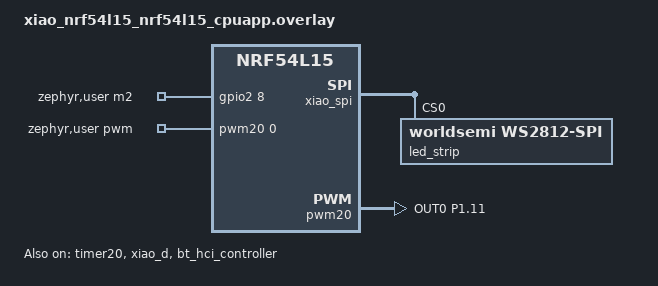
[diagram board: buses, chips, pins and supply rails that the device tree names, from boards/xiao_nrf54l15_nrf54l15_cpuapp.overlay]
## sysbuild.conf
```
# Sysbuild configuration for LED strip sample with HPF WS2812 support
# Based on HPF GPIO sample configuration

# Disable partition manager for simplicity
#SB_CONFIG_PARTITION_MANAGER=n

# Enable HPF framework
#SB_CONFIG_HPF=y

# Enable WS2812 HPF application for FLPR core
#SB_CONFIG_HPF_WS2812=y
```

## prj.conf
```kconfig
CONFIG_LOG=y
CONFIG_SHELL_BACKEND_SERIAL=y
CONFIG_LED_STRIP=y
CONFIG_LED_STRIP_LOG_LEVEL_DBG=y

# Counter/Timer support for POV frame timing
CONFIG_COUNTER=y

# PWM support for motor control
CONFIG_PWM=y
CONFIG_GPIO=y
# Serial/Shell support for motor commands
CONFIG_BT_NUS=y
CONFIG_SERIAL=y

# Bluetooth Low Energy support
CONFIG_BT=y
CONFIG_BT_SMP=y
CONFIG_BT_LL_SOFTDEVICE=y
CONFIG_BT_LL_SW_SPLIT=y
CONFIG_BT_CENTRAL=y
CONFIG_BT_DEVICE_NAME="POV_Display"

# Main stack size (increased for BT)
CONFIG_MAIN_STACK_SIZE=2048
```

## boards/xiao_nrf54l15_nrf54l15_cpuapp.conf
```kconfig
# Copyright (c) 2024 Nordic Semiconductor ASA
# SPDX-License-Identifier: Apache-2.0

# Enable LED strip subsystem
CONFIG_LED_STRIP=y

# Enable WS2812 nRF54L15 HPF driver
#CONFIG_WS2812_STRIP_NRF54L15_HPF=y

# Enable MBOX for HPF communication (default backend)
#CONFIG_MBOX=y

# Enable IPC service as alternative backend
#CONFIG_IPC_SERVICE=y

# Enable GPIO support (required for pin configuration)
#CONFIG_GPIO=y

# Enable logging for debugging
CONFIG_LOG=y
CONFIG_LED_STRIP_LOG_LEVEL_DBG=y

# Memory and performance optimizations
CONFIG_MAIN_STACK_SIZE=2048
CONFIG_SYSTEM_WORKQUEUE_STACK_SIZE=1024

# Bluetooth Low Energy 
CONFIG_BT=y
CONFIG_BT_LL_SOFTDEVICE=y
CONFIG_BT_LL_SW_SPLIT=y
CONFIG_BT_CTLR=y
CONFIG_BT_HCI=y
CONFIG_SHELL_BT_NUS=y
CONFIG_BT_NUS=y
CONFIG_BT_PERIPHERAL=y
CONFIG_BT_DEVICE_NAME="POV_Display"

# Nordic UART Service (NUS) 


# Bluetooth configuration (DISABLED)
CONFIG_BT_MAX_CONN=1

# PWM for motor control
CONFIG_PWM=y

# Shell/Console for motor control commands
CONFIG_SERIAL=y
```

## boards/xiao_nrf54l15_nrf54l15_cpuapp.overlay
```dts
/*
 * Copyright (c) 2024 Nordic Semiconductor ASA
 *
 * SPDX-License-Identifier: Apache-2.0
 */

//#include <zephyr/dt-bindings/gpio/gpio.h>
#include <zephyr/dt-bindings/led/led.h>
#include "../nrf54l15-bindings.h"

&xiao_spi {
	compatible = "nordic,nrf-spim";
	led_strip: ws2812@0 {
		compatible = "worldsemi,ws2812-spi";
		/* WS2812 LED strip configuration */
		reg = <0>;                  /* P2.08 (D6/TX on XIAO nRF54L15) - FLPR can only use Port 2! */
		spi-max-frequency = <SPI_FREQ>;

		/* WS2812 */
		chain-length = <90>; /* arbitrary; change at will */
		color-mapping = <LED_COLOR_ID_GREEN
				 LED_COLOR_ID_RED
				 LED_COLOR_ID_BLUE>;
		spi-one-frame = <ONE_FRAME>;
		spi-zero-frame = <ZERO_FRAME>;
	};

	
};

/ {
	aliases { 
		led-strip = &led_strip;
		pov-timer = &timer20; /* Use TIMER20 for POV frame timing */
	};

	chosen {
		zephyr,bt-hci = &bt_hci_controller;
		zephyr,console = &uart20;
		nordic,rpc-uart = &uart20;
	};

	zephyr,user {
		m2-gpios = <&gpio2 8 0>;
		pwms = <&pwm20 0 20 PWM_POLARITY_NORMAL>;
	};
};

&pwm20 {
	pinctrl-0 = < &xiao_d 5 0>;
};

/* Configure TIMER20 for POV frame updates */
&timer20 {
	status = "okay";
};

/* Enable GPIO port 2 for WS2812 data pin (FLPR requirement) */
//&gpio2 {
//	status = "okay";
//};

/* Enable MBOX communication with FLPR core */
&cpuapp_vevif_tx {
	status = "okay";
};

&cpuapp_vevif_rx {
	status = "okay";
};



&xiao_d {

	status = "okay";
};

/* PWM for motor control - DRV8833 
 * Motor IN1 on P1.11 (D5) - controlled by PWM20 (Port 1 supports PWM)
 * Motor IN2 on P2.08 (D6) - controlled by GPIO (Port 2 doesn't support PWM)
 * D10 (P2.02) - WS2812 data (no conflict)
 */
&pwm20 {
	status = "okay";
	pinctrl-0 = <&pwm20_default>;
	pinctrl-1 = <&pwm20_sleep>;
	pinctrl-names = "default", "sleep";
};

&pinctrl {
	pwm20_default: pwm20_default {
		group1 {
			psels = <NRF_PSEL(PWM_OUT0, 1, 11)>;  /* D5/P1.11 - Motor IN1 */
		};
	};
	
	pwm20_sleep: pwm20_sleep {
		group1 {
			psels = <NRF_PSEL(PWM_OUT0, 1, 11)>;
			low-power-enable;
		};
	};
};

&pdm20 {
	status = "disabled";
};

&i2c22 {
	status = "disabled";
};

&adc {
	status = "disabled";
};

&uart21 {
	status = "disabled";
};

&bt_hci_controller {
	status = "okay";
};
```

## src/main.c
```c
/*
 * Copyright (c) 2017 Linaro Limited
 * Copyright (c) 2018 Intel Corporation
 * Copyright (c) 2024 TOKITA Hiroshi
 *
 * SPDX-License-Identifier: Apache-2.0
 */

#include <errno.h>
#include <string.h>

#define LOG_LEVEL 4
#include <zephyr/logging/log.h>
LOG_MODULE_REGISTER(main);

#include <zephyr/kernel.h>
#include <zephyr/drivers/led_strip.h>
#include <zephyr/device.h>
#include <zephyr/bluetooth/bluetooth.h>
#include <zephyr/bluetooth/hci.h>
#include <zephyr/drivers/spi.h>
#include <zephyr/sys/util.h>
#include <zephyr/drivers/pwm.h>
#include <zephyr/drivers/gpio.h>
#include <zephyr/shell/shell.h>

#define STRIP_NODE		DT_ALIAS(led_strip)

#if DT_NODE_HAS_PROP(DT_ALIAS(led_strip), chain_length)
#define STRIP_NUM_PIXELS	DT_PROP(DT_ALIAS(led_strip), chain_length)
#else
#error Unable to determine length of LED strip
#endif

/* POV Configuration */
#define TARGET_RPM		333	/* Target rotation speed */
#define NUM_SLICES		45	/* Angular slices per revolution (8° resolution) */
					/* At 333 RPM: 180ms/rev, WS2812 refresh ~2.7ms */
					/* Need margin: 4ms per slice = 45 slices max */
					/* Update rate: 333 RPM ÷ 60 × 45 slices = 250 Hz (4ms) */

/* Physical LED Layout - CIRCUMFERENTIAL ARC */
/* 90 LEDs arranged in a circle around the perimeter (NOT radial spokes!) */
#define LED_START_ANGLE		185	/* LED 0: ~5° left of bottom (185°) */
#define LED_END_ANGLE		340	/* LED 89: 340° around circle */
#define LED_ARC_SPAN		335	/* Arc coverage: ~340° (missing 20mm at bottom) */
#define LED_PITCH_MM		2	/* Physical spacing between LEDs */
#define ARC_RADIUS_MM		50	/* Radius of LED arc (100mm diameter / 2) */

/* Each LED covers approximately 335°/90 ≈ 3.7° of arc */
#define DEGREES_PER_LED		((float)LED_ARC_SPAN / STRIP_NUM_PIXELS)

#define RGB(_r, _g, _b) { .r = (_r), .g = (_g), .b = (_b) }

/* POV Frame Buffer - stores all slices for one complete image */
/* When spinning, each slice represents one "frame" or angular position */
/* frame_buffer[slice_index][led_index] where:
 *   - slice_index: Angular position during rotation (0-44 for 45 slices)
 *   - led_index: Position around the circumference (0-89)
 *     - LED 0 at 185° (bottom-left)
 *     - LED 45 at ~0° (top)
 *     - LED 89 at 340° (bottom-right)
 *   - 20mm gap at bottom between LED 89 and LED 0
 */
static struct led_rgb frame_buffer[NUM_SLICES][STRIP_NUM_PIXELS];

/* Current output buffer for LED strip */
static struct led_rgb pixels[STRIP_NUM_PIXELS];

/* Current slice being displayed */
static volatile uint32_t current_slice = 0;
static uint32_t last_slice = 0;

/* Flag to indicate new slice data is ready to draw */
static volatile bool update_flag = false;

static const struct device *const strip = DEVICE_DT_GET(STRIP_NODE);

/* Motor control pins - D5 and D6 on XIAO nRF54L15 
 * DRV8833 Control:
 *   IN1=LOW,  IN2=LOW  -> Coast
 *   IN1=LOW,  IN2=HIGH -> Reverse
 *   IN1=HIGH, IN2=LOW  -> Forward
 *   IN1=HIGH, IN2=HIGH -> Brake
 */
/* D5 = P1.11 (Motor IN1 via PWM20), D6 = P2.08 (Motor IN2 via GPIO m2) */
/* WS2812 is on D10 = P2.02 (no conflict!) */
#define MOTOR_PWM_PERIOD_NS  20000000UL  /* 50 Hz for motor control */

/* Motor control devices: PWM for IN1 (P1.11), GPIO spec for IN2 (P2.08 via m2 alias) */
static const struct device *motor_pwm_in1;  /* PWM20 device */
static const struct gpio_dt_spec motor_gpio_in2 = GPIO_DT_SPEC_GET(DT_PATH(zephyr_user), m2_gpios);

/* Kernel timer for POV frame updates */
static struct k_timer pov_timer;

/* Bluetooth advertising data */
static const struct bt_data ad[] = {
	BT_DATA_BYTES(BT_DATA_FLAGS, (BT_LE_AD_GENERAL | BT_LE_AD_NO_BREDR)),
	BT_DATA(BT_DATA_NAME_COMPLETE, "POV_Display", 11),
};

/* Initialize frame buffer with a test pattern */
static void init_test_pattern(void)
{
	/* Create an animated rotating pattern
	 * Each slice shifts the pattern around the circumference
	 * This creates a "spinning" or "chasing" effect through the slices
	 */
	for (int slice = 0; slice < NUM_SLICES; slice++) {
		for (int led = 0; led < STRIP_NUM_PIXELS; led++) {
			struct led_rgb color;
			
			/* Create a position that rotates based on slice number */
			/* This makes the pattern shift as we advance through slices */
			int rotated_pos = (led + (slice * 2)) % STRIP_NUM_PIXELS;  // Rotate 2 LEDs per slice
			
			/* Determine color based on rotated position */
			if (rotated_pos < 30) {
				/* Red section */
				color = (struct led_rgb)RGB(0x30, 0x00, 0x00);
			} else if (rotated_pos < 60) {
				/* Green section */
				color = (struct led_rgb)RGB(0x00, 0x30, 0x00);
			} else {
				/* Blue section */
				color = (struct led_rgb)RGB(0x00, 0x00, 0x30);
			}
			
			/* Add a bright "marker" LED at position 0 of each color section */
			if (rotated_pos == 0 || rotated_pos == 30 || rotated_pos == 60) {
				color.r = (color.r > 0) ? 0xFF : 0;
				color.g = (color.g > 0) ? 0xFF : 0;
				color.b = (color.b > 0) ? 0xFF : 0;
			}
			
			frame_buffer[slice][led] = color;
		}
	}
	
	LOG_INF("Initialized rotating test pattern: %d slices x %d LEDs", NUM_SLICES, STRIP_NUM_PIXELS);
	LOG_INF("Pattern: Rotating RGB sections with bright markers");
}

/* Initialize motor control pins to LOW (motor coast) */
static int init_motor_pins(void)
{
	/* Get PWM20 device for IN1 */
	motor_pwm_in1 = DEVICE_DT_GET(DT_NODELABEL(pwm20));
	if (!device_is_ready(motor_pwm_in1)) {
		LOG_ERR("PWM20 device not ready");
		return -ENODEV;
	}
	
	/* Check GPIO spec for IN2 (m2) is ready */
	if (!gpio_is_ready_dt(&motor_gpio_in2)) {
		LOG_ERR("GPIO m2 device not ready");
		return -ENODEV;
	}
	
	/* Initialize PWM IN1 to LOW (0% duty cycle) - channel 0, period 20ms */
	int ret = pwm_set(motor_pwm_in1, 0, MOTOR_PWM_PERIOD_NS, 0, 0);
	if (ret < 0) {
		LOG_ERR("Failed to initialize PWM20 (IN1): %d", ret);
		return ret;
	}
	
	/* Configure GPIO IN2 (m2) as output, initially LOW */
	ret = gpio_pin_configure_dt(&motor_gpio_in2, GPIO_OUTPUT_INACTIVE);
	if (ret < 0) {
		LOG_ERR("Failed to configure motor IN2 pin (m2/P2.08): %d", ret);
		return ret;
	}
	
	LOG_INF("Motor control initialized - COAST mode (IN1=LOW, IN2=LOW)");
	LOG_INF("  D5 (P1.11) = IN1 via PWM20, D6 (P2.08) = IN2 via GPIO m2");
	LOG_INF("  WS2812 on D10 (P2.02) - no conflict");
	
	return 0;
}

/* Initialize Bluetooth and start advertising */
static int init_bluetooth(void)
{
	int err;

	/* Initialize the Bluetooth subsystem */
	err = bt_enable(NULL);
	if (err) {
		LOG_ERR("Bluetooth init failed (err %d)", err);
		return err;
	}

	LOG_INF("Bluetooth initialized");

	/* Start advertising */
	err = bt_le_adv_start(BT_LE_ADV_CONN, ad, ARRAY_SIZE(ad), NULL, 0);
	if (err) {
		LOG_ERR("Advertising failed to start (err %d)", err);
		return err;
	}

	LOG_INF("Bluetooth advertising started as 'POV_Display'");
	return 0;
}

/* Motor control functions - PWM for IN1, GPIO for IN2 */
static void motor_stop(void)
{
	/* Coast mode: IN1=LOW, IN2=LOW */
	pwm_set(motor_pwm_in1, 0, MOTOR_PWM_PERIOD_NS, 0, 0);  /* 0% duty = LOW */
	gpio_pin_set_dt(&motor_gpio_in2, 0);                   /* GPIO LOW */
	LOG_INF("Motor: COAST");
}

static void motor_forward(void)
{
	/* Forward: IN1=25% PWM, IN2=LOW */
	uint32_t pulse_ns = MOTOR_PWM_PERIOD_NS / 4;  /* 25% duty cycle */
	pwm_set(motor_pwm_in1, 0, MOTOR_PWM_PERIOD_NS, pulse_ns, 0);
	gpio_pin_set_dt(&motor_gpio_in2, 0);  /* GPIO LOW */
	LOG_INF("Motor: FORWARD (25%% PWM)");
}

static void motor_reverse(void)
{
	/* Reverse: IN1=LOW, IN2=HIGH */
	pwm_set(motor_pwm_in1, 0, MOTOR_PWM_PERIOD_NS, 0, 0);  /* 0% = LOW */
	gpio_pin_set_dt(&motor_gpio_in2, 1);                   /* GPIO HIGH */
	LOG_INF("Motor: REVERSE");
}

static void motor_brake(void)
{
	/* Brake: IN1=25% PWM, IN2=HIGH */
	uint32_t pulse_ns = MOTOR_PWM_PERIOD_NS / 4;  /* 25% duty cycle */
	pwm_set(motor_pwm_in1, 0, MOTOR_PWM_PERIOD_NS, pulse_ns, 0);
	gpio_pin_set_dt(&motor_gpio_in2, 1);  /* GPIO HIGH */
	LOG_INF("Motor: BRAKE (25%% PWM)");
}

/* Shell command handlers */
static int cmd_motor_forward(const struct shell *sh, size_t argc, char **argv)
{
	ARG_UNUSED(argc);
	ARG_UNUSED(argv);
	motor_forward();
	shell_print(sh, "Motor: FORWARD");
	return 0;
}

static int cmd_motor_reverse(const struct shell *sh, size_t argc, char **argv)
{
	ARG_UNUSED(argc);
	ARG_UNUSED(argv);
	motor_reverse();
	shell_print(sh, "Motor: REVERSE");
	return 0;
}

static int cmd_motor_stop(const struct shell *sh, size_t argc, char **argv)
{
	ARG_UNUSED(argc);
	ARG_UNUSED(argv);
	motor_stop();
	shell_print(sh, "Motor: COAST (stopped)");
	return 0;
}

static int cmd_motor_brake(const struct shell *sh, size_t argc, char **argv)
{
	ARG_UNUSED(argc);
	ARG_UNUSED(argv);
	motor_brake();
	shell_print(sh, "Motor: BRAKE");
	return 0;
}

static int cmd_motor_status(const struct shell *sh, size_t argc, char **argv)
{
	ARG_UNUSED(argc);
	ARG_UNUSED(argv);
	
	int in2_state = gpio_pin_get_dt(&motor_gpio_in2);
	
	shell_print(sh, "Motor Status:");
	shell_print(sh, "  IN1 (D5/P1.11): PWM20 control");
	shell_print(sh, "  IN2 (D6/P2.08/m2): GPIO %s", in2_state ? "HIGH" : "LOW");
	shell_print(sh, "  Use 'motor forward/reverse/stop/brake' to control");
	
	return 0;
}

/* Register shell commands */
SHELL_STATIC_SUBCMD_SET_CREATE(motor_cmds,
	SHELL_CMD(forward, NULL, "Spin motor forward", cmd_motor_forward),
	SHELL_CMD(reverse, NULL, "Spin motor reverse", cmd_motor_reverse),
	SHELL_CMD(stop, NULL, "Stop motor (coast)", cmd_motor_stop),
	SHELL_CMD(brake, NULL, "Brake motor", cmd_motor_brake),
	SHELL_CMD(status, NULL, "Show motor status", cmd_motor_status),
	SHELL_SUBCMD_SET_END
);

SHELL_CMD_REGISTER(motor, &motor_cmds, "Motor control commands", NULL);

/* Timer callback - increments slice counter and sets update flag */
static void timer_callback(struct k_timer *timer)
{
	ARG_UNUSED(timer);
	
	/* Increment slice (wraps around) */
	current_slice = (current_slice + 1) % NUM_SLICES;
	
	/* Signal that a new slice is ready */
	update_flag = true;
}

int main(void)
{
	int rc;

	if (device_is_ready(strip)) {
		LOG_INF("Found LED strip device %s", strip->name);
	} else {
		LOG_ERR("LED strip device %s is not ready", strip->name);
		return 0;
	}

	/* Initialize motor control pins (set to LOW/OFF) */
	rc = init_motor_pins();
	if (rc < 0) {
		LOG_ERR("Failed to initialize motor pins: %d", rc);
		return 0;
	}

	/* Initialize Bluetooth and start advertising */
	rc = init_bluetooth();
	if (rc < 0) {
		LOG_ERR("Failed to initialize Bluetooth: %d", rc);
		/* Continue without Bluetooth - not critical for POV operation */
	}

	/* Step 1: Populate all slice color data (prepare frame buffer) */
	LOG_INF("Preparing frame buffer: %d slices x %d LEDs", NUM_SLICES, STRIP_NUM_PIXELS);
	init_test_pattern();
	LOG_INF("Frame buffer ready");
	
	/* Debug: Check first slice, first few LEDs */
	LOG_INF("Slice 0, LED 0: R=%d G=%d B=%d", 
		frame_buffer[0][0].r, frame_buffer[0][0].g, frame_buffer[0][0].b);
	LOG_INF("Slice 0, LED 5: R=%d G=%d B=%d", 
		frame_buffer[0][5].r, frame_buffer[0][5].g, frame_buffer[0][5].b);
	LOG_INF("Slice 0, LED 10: R=%d G=%d B=%d", 
		frame_buffer[0][10].r, frame_buffer[0][10].g, frame_buffer[0][10].b);
	
	/* Test: Light up all LEDs briefly to verify they work */
	LOG_INF("Testing LEDs - setting all to dim white");
	for (int i = 0; i < STRIP_NUM_PIXELS; i++) {
		pixels[i] = (struct led_rgb)RGB(0x05, 0x05, 0x05);
	}
	rc = led_strip_update_rgb(strip, pixels, STRIP_NUM_PIXELS);
	if (rc) {
		LOG_ERR("Test LED update failed: %d", rc);
	} else {
		LOG_INF("Test LED update successful");
	}
	k_sleep(K_MSEC(2000));  /* Keep test pattern for 2 seconds */
	
	/* Step 2: Register timer callback and start timer (10ms tick for safe margin) */
	/* WS2812 update takes ~2.7ms, so 10ms gives plenty of margin */
	LOG_INF("Starting timer with 10ms period");
	k_timer_init(&pov_timer, timer_callback, NULL);
	k_timer_start(&pov_timer, K_MSEC(10), K_MSEC(10));
	LOG_INF("Timer started - animation running (100 Hz, ~22.2 FPS effective)");
	
	/* Test motor control after a few seconds */
	LOG_INF("Waiting 5 seconds before motor test...");
	k_sleep(K_MSEC(5000));
	
	LOG_INF("Testing motor: FORWARD for 2 seconds");
	motor_forward();
	k_sleep(K_MSEC(2000));
	
	LOG_INF("Testing motor: STOP");
	motor_stop();
	k_sleep(K_MSEC(1000));
	
	LOG_INF("Motor test complete. Use shell commands: 'motor forward', 'motor stop', etc.");
	
	/* Step 3: Main loop - draw slice when it changes */
	while (1) {
		if (current_slice != last_slice) {
			/* New slice is ready - draw it to LEDs */
			memcpy(pixels, frame_buffer[current_slice], sizeof(pixels));
			
			rc = led_strip_update_rgb(strip, pixels, STRIP_NUM_PIXELS);
			if (rc) {
				LOG_ERR("LED update failed: %d", rc);
			}
			
			/* Update last_slice to current */
			last_slice = current_slice;
			
			/* Log progress occasionally */
			static uint32_t draw_count = 0;
			draw_count++;
			if (draw_count % NUM_SLICES == 0) {
				LOG_INF("Completed rotation %d", draw_count / NUM_SLICES);
			}
		} else {
			/* No new slice - yield to other threads */
			k_yield();
		}
	}

	return 0;
}
```
